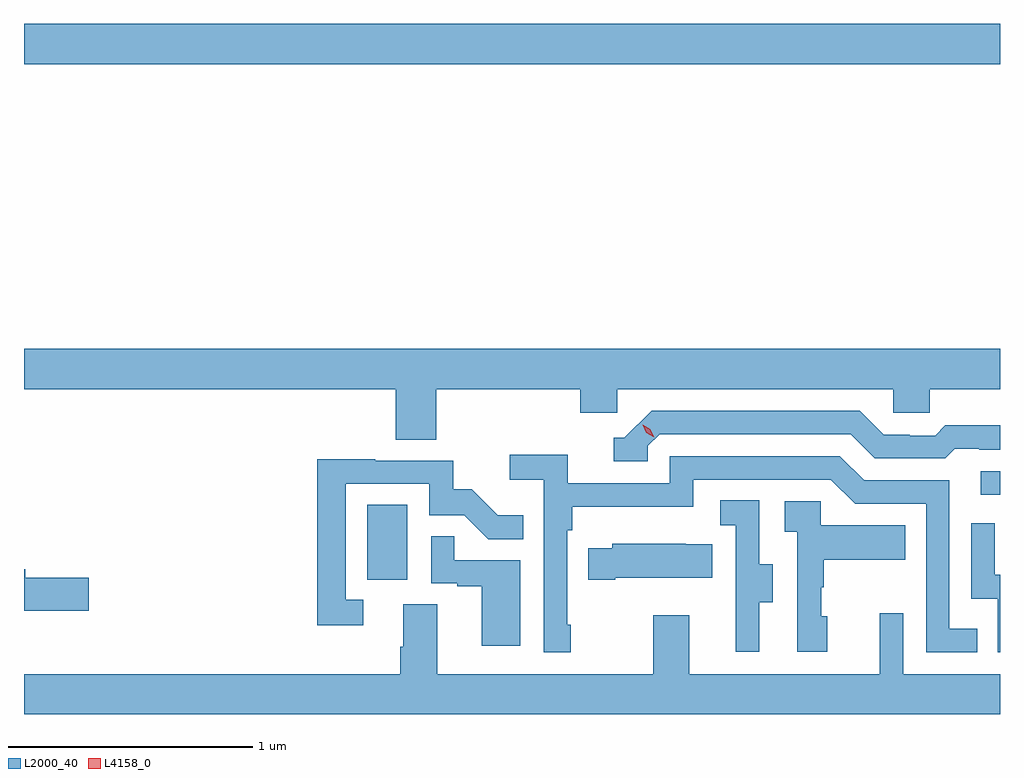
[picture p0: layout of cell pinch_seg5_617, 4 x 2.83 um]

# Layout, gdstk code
import gdstk
lib = gdstk.Library(unit=1e-6, precision=1e-09)
def R(c, l, rs):  # rectangles x0, y0, x1, y1
    for r in rs: c.add(gdstk.rectangle(r[:2], r[2:], *l))
def P(c, l, *ps):  # polygons
    for p in ps: c.add(gdstk.Polygon(p, *l))
L2000_40 = (2000, 40)
L4158_0 = (4158, 0)

pinch_seg5_617 = lib.new_cell('pinch_seg5_617')
R(pinch_seg5_617, L2000_40, [(1045.994,859.974,1046.158,860.281), (1048.509,860.322,1048.587,860.418), (1044.587,862.088,1048.587,862.252)])
P(pinch_seg5_617, L2000_40, [(1046.276,860.756),(1046.867,860.756),(1046.867,860.658),(1047.018,860.658),(1047.018,860.756),(1048.149,860.756),(1048.149,860.658),(1048.299,860.658),(1048.299,860.756),(1048.587,860.756),(1048.587,860.92),(1044.587,860.92),(1044.587,860.756),(1046.111,860.756),(1046.111,860.548),(1046.276,860.548)],
  [(1047.144,860.523),(1047.192,860.571),(1047.975,860.571),(1048.074,860.472),(1048.363,860.472),(1048.402,860.511),(1048.501,860.511),(1048.501,860.508),(1048.587,860.508),(1048.587,860.608),(1048.363,860.608),(1048.321,860.565),(1048.218,860.565),(1048.218,860.568),(1048.111,860.568),(1048.012,860.667),(1047.159,860.667),(1047.048,860.556),(1047.005,860.556),(1047.005,860.46),(1047.144,860.46)],
  [(1046.827,859.789),(1046.814,859.789),(1046.814,860.177),(1046.834,860.177),(1046.834,860.273),(1047.33,860.273),(1047.33,860.385),(1047.894,860.385),(1047.993,860.286),(1048.284,860.286),(1048.284,859.677),(1048.493,859.677),(1048.493,859.773),(1048.38,859.773),(1048.38,860.382),(1048.03,860.382),(1047.931,860.481),(1047.234,860.481),(1047.234,860.37),(1046.816,860.37),(1046.816,860.486),(1046.577,860.486),(1046.577,860.384),(1046.718,860.384),(1046.718,859.677),(1046.827,859.677)],
  [(1045.978,859.893),(1045.905,859.893),(1045.905,860.367),(1046.247,860.367),(1046.247,860.238),(1046.391,860.238),(1046.489,860.14),(1046.633,860.14),(1046.633,860.239),(1046.529,860.239),(1046.422,860.346),(1046.346,860.346),(1046.346,860.463),(1046.027,860.463),(1046.027,860.468),(1045.789,860.468),(1045.789,859.788),(1045.978,859.788)],
  [(1047.601,859.882),(1047.655,859.882),(1047.655,860.037),(1047.6,860.037),(1047.6,860.3),(1047.441,860.3),(1047.441,860.197),(1047.504,860.197),(1047.504,859.893),(1047.503,859.893),(1047.503,859.68),(1047.601,859.68)],
  [(1047.88,859.824),(1047.855,859.824),(1047.855,859.943),(1047.865,859.943),(1047.865,860.057),(1048.199,860.057),(1048.199,860.197),(1047.852,860.197),(1047.852,860.295),(1047.705,860.295),(1047.705,860.171),(1047.756,860.171),(1047.756,859.68),(1047.88,859.68)],
  [(1048.587,859.994),(1048.566,859.994),(1048.566,860.206),(1048.47,860.206),(1048.47,859.896),(1048.578,859.896),(1048.578,859.677),(1048.587,859.677)],
  [(1046.62,860.055),(1046.351,860.055),(1046.351,860.153),(1046.256,860.153),(1046.256,859.959),(1046.363,859.959),(1046.363,859.947),(1046.462,859.947),(1046.462,859.704),(1046.62,859.704)],
  [(1047.01,859.982),(1047.407,859.982),(1047.407,860.119),(1047.299,860.119),(1047.299,860.122),(1046.997,860.122),(1046.997,860.104),(1046.899,860.104),(1046.899,859.975),(1047.01,859.975)],
  [(1044.853,859.982),(1044.592,859.982),(1044.592,860.018),(1044.587,860.018),(1044.587,859.847),(1044.853,859.847)],
  [(1048.587,859.588),(1048.191,859.588),(1048.191,859.837),(1048.094,859.837),(1048.094,859.588),(1047.313,859.588),(1047.313,859.828),(1047.166,859.828),(1047.166,859.588),(1046.281,859.588),(1046.281,859.874),(1046.141,859.874),(1046.141,859.7),(1046.129,859.7),(1046.129,859.588),(1044.587,859.588),(1044.587,859.424),(1048.587,859.424)])
P(pinch_seg5_617, L4158_0, [(1047.169,860.558),(1047.138,860.577),(1047.122,860.61),(1047.122,860.61),(1047.122,860.61),(1047.153,860.591),(1047.169,860.558),(1047.169,860.558)])

lib.write_gds('pinch_seg5_617.gds')
